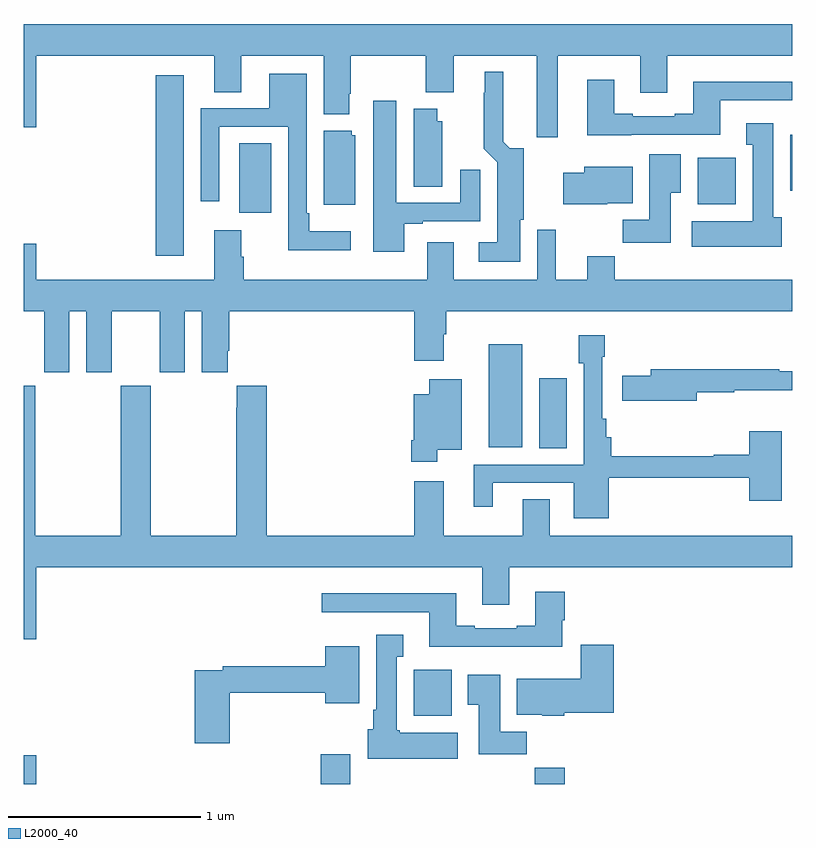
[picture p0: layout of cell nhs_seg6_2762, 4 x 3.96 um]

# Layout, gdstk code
import gdstk
lib = gdstk.Library(unit=1e-6, precision=1e-09)
def R(c, l, rs):  # rectangles x0, y0, x1, y1
    for r in rs: c.add(gdstk.rectangle(r[:2], r[2:], *l))
def P(c, l, *ps):  # polygons
    for p in ps: c.add(gdstk.Polygon(p, *l))
L2000_40 = (2000, 40)

nhs_seg6_2762 = lib.new_cell('nhs_seg6_2762')
R(nhs_seg6_2762, L2000_40, [(273,987.5,273.064,987.649), (274.547,987.5,274.699,987.655), (275.659,987.5,275.816,987.584), (275.03,987.854,275.227,988.096), (275.684,989.248,275.827,989.611), (275.42,989.252,275.596,989.788), (273.686,990.249,273.832,991.189), (274.121,990.474,274.288,990.836), (276.509,990.518,276.706,990.76), (276.989,990.588,277,990.88)])
P(nhs_seg6_2762, L2000_40, [(275.779,991.292),(276.209,991.292),(276.209,991.098),(276.349,991.098),(276.349,991.292),(277,991.292),(277,991.456),(273,991.456),(273,990.918),(273.064,990.918),(273.064,991.292),(273.992,991.292),(273.992,991.102),(274.132,991.102),(274.132,991.292),(274.562,991.292),(274.562,990.986),(274.693,990.986),(274.693,991.093),(274.701,991.093),(274.701,991.292),(275.092,991.292),(275.092,991.1),(275.239,991.1),(275.239,991.292),(275.669,991.292),(275.669,990.867),(275.779,990.867)],
  [(275.584,990.438),(275.602,990.438),(275.602,990.81),(275.53,990.81),(275.497,990.844),(275.497,991.207),(275.399,991.207),(275.399,991.097),(275.395,991.097),(275.395,990.806),(275.465,990.736),(275.465,990.319),(275.367,990.319),(275.367,990.218),(275.584,990.218)],
  [(274.702,990.376),(274.486,990.376),(274.486,990.472),(274.473,990.472),(274.473,991.198),(274.277,991.198),(274.277,991.017),(273.921,991.017),(273.921,990.534),(274.017,990.534),(274.017,990.921),(274.377,990.921),(274.377,990.278),(274.702,990.278)],
  [(276.161,990.879),(276.625,990.879),(276.625,991.059),(277,991.059),(277,991.156),(276.485,991.156),(276.485,990.988),(276.389,990.988),(276.389,990.975),(276.169,990.975),(276.169,990.988),(276.073,990.988),(276.073,991.165),(275.933,991.165),(275.933,990.878),(276.161,990.878)],
  [(274.981,990.417),(275.077,990.417),(275.077,990.429),(275.377,990.429),(275.377,990.697),(275.273,990.697),(275.273,990.525),(274.939,990.525),(274.939,991.057),(274.82,991.057),(274.82,990.27),(274.981,990.27)],
  [(275.179,990.951),(275.152,990.951),(275.152,991.015),(275.03,991.015),(275.03,990.61),(275.179,990.61)],
  [(276.946,990.45),(276.901,990.45),(276.901,990.94),(276.761,990.94),(276.761,990.827),(276.794,990.827),(276.794,990.43),(276.477,990.43),(276.477,990.296),(276.946,990.296)],
  [(274.726,990.876),(274.707,990.876),(274.707,990.901),(274.562,990.901),(274.562,990.515),(274.726,990.515)],
  [(276.367,990.577),(276.421,990.577),(276.421,990.778),(276.257,990.778),(276.257,990.436),(276.118,990.436),(276.118,990.318),(276.367,990.318)],
  [(276.036,990.524),(276.169,990.524),(276.169,990.712),(275.918,990.712),(275.918,990.682),(275.807,990.682),(275.807,990.518),(276.036,990.518)],
  [(273.238,989.96),(273.326,989.96),(273.326,989.643),(273.457,989.643),(273.457,989.96),(273.707,989.96),(273.707,989.643),(273.838,989.643),(273.838,989.96),(273.926,989.96),(273.926,989.643),(274.063,989.643),(274.063,989.755),(274.07,989.755),(274.07,989.96),(275.033,989.96),(275.033,989.703),(275.185,989.703),(275.185,989.84),(275.198,989.84),(275.198,989.96),(277,989.96),(277,990.124),(276.077,990.124),(276.077,990.248),(275.933,990.248),(275.933,990.124),(275.77,990.124),(275.77,990.385),(275.673,990.385),(275.673,990.124),(275.239,990.124),(275.239,990.319),(275.099,990.319),(275.099,990.124),(274.145,990.124),(274.145,990.245),(274.132,990.245),(274.132,990.382),(273.992,990.382),(273.992,990.124),(273.064,990.124),(273.064,990.313),(273,990.313),(273,989.96),(273.107,989.96),(273.107,989.643),(273.238,989.643)],
  [(276.046,989.094),(276.776,989.094),(276.776,988.974),(276.946,988.974),(276.946,989.222),(276.945,989.222),(276.945,989.335),(276.776,989.335),(276.776,989.215),(276.592,989.215),(276.592,989.207),(276.059,989.207),(276.059,989.305),(276.032,989.305),(276.032,989.401),(276.012,989.401),(276.012,989.723),(276.025,989.723),(276.025,989.836),(275.89,989.836),(275.89,989.691),(275.916,989.691),(275.916,989.163),(275.342,989.163),(275.342,988.944),(275.44,988.944),(275.44,989.067),(275.864,989.067),(275.864,988.883),(276.046,988.883)],
  [(276.502,989.538),(276.698,989.538),(276.698,989.549),(277,989.549),(277,989.648),(276.932,989.648),(276.932,989.659),(276.263,989.659),(276.263,989.625),(276.114,989.625),(276.114,989.495),(276.502,989.495)],
  [(275.152,989.24),(275.281,989.24),(275.281,989.608),(275.111,989.608),(275.111,989.53),(275.03,989.53),(275.03,989.29),(275.018,989.29),(275.018,989.178),(275.152,989.178)],
  [(273.064,988.628),(275.387,988.628),(275.387,988.434),(275.527,988.434),(275.527,988.628),(277,988.628),(277,988.792),(275.737,988.792),(275.737,988.982),(275.597,988.982),(275.597,988.792),(275.185,988.792),(275.185,989.077),(275.033,989.077),(275.033,988.792),(274.265,988.792),(274.265,989.572),(274.109,989.572),(274.109,989.459),(274.105,989.459),(274.105,988.792),(273.66,988.792),(273.66,989.572),(273.505,989.572),(273.505,988.792),(273.06,988.792),(273.06,989.572),(273,989.572),(273,988.254),(273.064,988.254)],
  [(275.803,988.353),(275.816,988.353),(275.816,988.501),(275.663,988.501),(275.663,988.324),(275.567,988.324),(275.567,988.311),(275.347,988.311),(275.347,988.324),(275.251,988.324),(275.251,988.492),(274.551,988.492),(274.551,988.395),(275.111,988.395),(275.111,988.214),(275.803,988.214)],
  [(275.26,987.766),(274.956,987.766),(274.956,987.78),(274.942,987.78),(274.942,988.163),(274.975,988.163),(274.975,988.276),(274.835,988.276),(274.835,987.886),(274.82,987.886),(274.82,987.786),(274.79,987.786),(274.79,987.632),(275.26,987.632)],
  [(275.814,987.872),(276.071,987.872),(276.071,988.225),(275.9,988.225),(275.9,988.048),(275.567,988.048),(275.567,987.86),(275.7,987.86),(275.7,987.854),(275.814,987.854)],
  [(274.073,987.976),(274.568,987.976),(274.568,987.92),(274.747,987.92),(274.747,988.216),(274.568,988.216),(274.568,988.112),(274.036,988.112),(274.036,988.092),(273.89,988.092),(273.89,987.711),(274.073,987.711)],
  [(275.618,987.772),(275.479,987.772),(275.479,988.069),(275.312,988.069),(275.312,987.913),(275.369,987.913),(275.369,987.654),(275.618,987.654)])

lib.write_gds('nhs_seg6_2762.gds')
